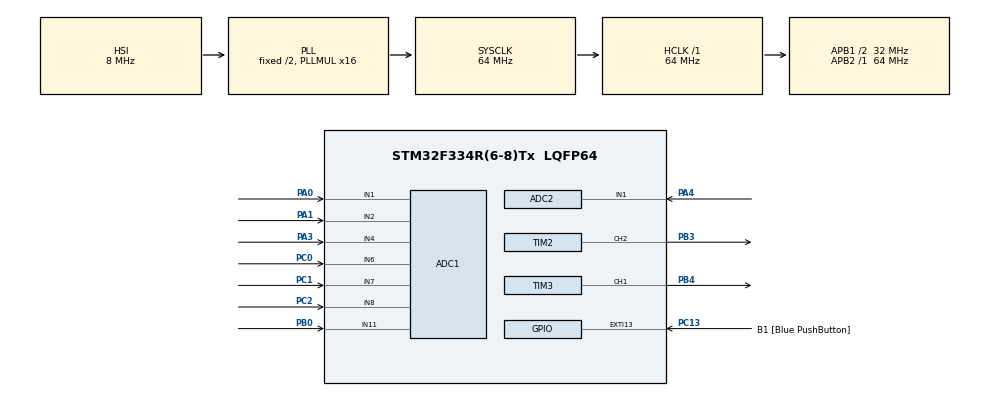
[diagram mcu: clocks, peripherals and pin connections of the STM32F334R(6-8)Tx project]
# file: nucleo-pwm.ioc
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ADC1.ContinuousConvMode=DISABLE
ADC1.EOCSelection=ADC_EOC_SINGLE_CONV
ADC1.EnableRegularConversion=DISABLE
ADC1.InjNumberOfConversion=3
ADC1.InjectedChannel-3\#ChannelInjectedConversion=ADC_CHANNEL_1
ADC1.InjectedChannel-4\#ChannelInjectedConversion=ADC_CHANNEL_2
ADC1.InjectedChannel-5\#ChannelInjectedConversion=ADC_CHANNEL_11
ADC1.InjectedOffset-3\#ChannelInjectedConversion=0
ADC1.InjectedOffset-4\#ChannelInjectedConversion=0
ADC1.InjectedOffset-5\#ChannelInjectedConversion=0
ADC1.InjectedOffsetNumber-3\#ChannelInjectedConversion=ADC_OFFSET_NONE
ADC1.InjectedOffsetNumber-4\#ChannelInjectedConversion=ADC_OFFSET_NONE
ADC1.InjectedOffsetNumber-5\#ChannelInjectedConversion=ADC_OFFSET_NONE
ADC1.InjectedRank-3\#ChannelInjectedConversion=1
ADC1.InjectedRank-4\#ChannelInjectedConversion=2
ADC1.InjectedRank-5\#ChannelInjectedConversion=3
ADC1.InjectedSamplingTime-3\#ChannelInjectedConversion=ADC_SAMPLETIME_1CYCLE_5
ADC1.InjectedSamplingTime-4\#ChannelInjectedConversion=ADC_SAMPLETIME_1CYCLE_5
ADC1.InjectedSamplingTime-5\#ChannelInjectedConversion=ADC_SAMPLETIME_1CYCLE_5
ADC1.SubFamily=STM32F334x8
ADC1.master=1
ADC2.ContinuousConvMode=DISABLE
ADC2.EOCSelection=ADC_EOC_SINGLE_CONV
ADC2.EnableRegularConversion=DISABLE
ADC2.InjNumberOfConversion=1
ADC2.InjectedChannel-2\#ChannelInjectedConversion=ADC_CHANNEL_1
ADC2.InjectedOffset-2\#ChannelInjectedConversion=0
ADC2.InjectedOffsetNumber-2\#ChannelInjectedConversion=ADC_OFFSET_NONE
ADC2.InjectedRank-2\#ChannelInjectedConversion=1
ADC2.InjectedSamplingTime-2\#ChannelInjectedConversion=ADC_SAMPLETIME_1CYCLE_5
ADC2.SubFamily=STM32F334x8
Mcu.Family=STM32F3
Mcu.Name=STM32F334R(6-8)Tx
Mcu.Package=LQFP64
NVIC.PriorityGroup=NVIC_PRIORITYGROUP_0
PA0.Mode=IN1-Single-Ended
PA0.Signal=ADC1_IN1
PA1.Mode=IN2-Single-Ended
PA1.Signal=ADC1_IN2
PA13.GPIO_Label=TMS
PA13.Mode=Serial_Wire
PA13.Signal=SYS_JTMS-SWDIO
PA14.GPIO_Label=TCK
PA14.Mode=Serial_Wire
PA14.Signal=SYS_JTCK-SWCLK
PA3.Mode=IN4-Single-Ended
PA3.Signal=ADC1_IN4
PA4.Mode=IN1-Single-Ended
PA4.Signal=ADC2_IN1
PA5.Signal=ADC2_IN2
PB0.Mode=IN11-Single-Ended
PB0.Signal=ADC1_IN11
PB3.GPIO_Speed=GPIO_SPEED_FREQ_HIGH
PB3.Signal=S_TIM2_CH2
PB4.Signal=S_TIM3_CH1
PC0.Signal=ADCx_IN6
PC1.Signal=ADCx_IN7
PC13.GPIO_Label=B1 [Blue PushButton]
PC13.GPIO_ModeDefaultEXTI=GPIO_MODE_IT_FALLING
PC13.Signal=GPXTI13
PC14\ /\ OSC32_IN.Mode=LSE-External-Oscillator
PC14\ /\ OSC32_IN.Signal=RCC_OSC32_IN
PC15\ /\ OSC32_OUT.GPIO_Label=RCC_OSC32_OUT
PC15\ /\ OSC32_OUT.Mode=LSE-External-Oscillator
PC15\ /\ OSC32_OUT.Signal=RCC_OSC32_OUT
PC2.Signal=ADCx_IN8
PF0\ /\ OSC_IN.Mode=HSE-External-Clock-Source
PF0\ /\ OSC_IN.Signal=RCC_OSC_IN
PF1\ /\ OSC_OUT.Signal=RCC_OSC_OUT
ProjectManager.HeapSize=0x200
ProjectManager.StackSize=0x400
ProjectManager.TargetToolchain=STM32CubeIDE
RCC.AHBFreq_Value=64000000
RCC.APB1CLKDivider=RCC_HCLK_DIV2
RCC.APB1Freq_Value=32000000
RCC.APB1TimFreq_Value=64000000
RCC.APB2Freq_Value=64000000
RCC.APB2TimFreq_Value=64000000
RCC.CortexFreq_Value=64000000
RCC.FLatency-AdvancedSettings=FLASH_LATENCY_2
RCC.HCLKFreq_Value=64000000
RCC.HSE_VALUE=8000000
RCC.HSI_VALUE=8000000
RCC.PLLMUL=RCC_PLL_MUL16
RCC.SYSCLKFreq_VALUE=64000000
RCC.SYSCLKSourceVirtual=RCC_SYSCLKSOURCE_PLLCLK
SH.ADCx_IN6.0=ADC1_IN6,IN6-Single-Ended
SH.ADCx_IN7.0=ADC1_IN7,IN7-Single-Ended
SH.ADCx_IN8.0=ADC1_IN8,IN8-Single-Ended
SH.S_TIM2_CH2.0=TIM2_CH2,PWM Generation2 CH2
SH.S_TIM3_CH1.0=TIM3_CH1,PWM Generation1 CH1
TIM2.AutoReloadPreload=TIM_AUTORELOAD_PRELOAD_ENABLE
TIM2.Channel-PWM\ Generation2\ CH2=TIM_CHANNEL_2
TIM2.OCFastMode_PWM-PWM\ Generation2\ CH2=TIM_OCFAST_ENABLE
TIM2.Period=15999
TIM2.Prescaler=1
TIM2.Pulse-PWM\ Generation2\ CH2=7999
TIM3.AutoReloadPreload=TIM_AUTORELOAD_PRELOAD_ENABLE
TIM3.Channel-PWM\ Generation1\ CH1=TIM_CHANNEL_1
TIM3.OCFastMode_PWM-PWM\ Generation1\ CH1=TIM_OCFAST_ENABLE
TIM3.Period=15999
TIM3.Prescaler=1
TIM3.Pulse-PWM\ Generation1\ CH1=8999
VP_TIM2_VS_ClockSourceINT.Mode=Internal
board=NUCLEO-F334R8

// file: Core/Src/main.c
/* USER CODE BEGIN Header */
/**
 ******************************************************************************
 * @file           : main.c
 * @brief          : Main program body
 ******************************************************************************
 * @attention
 *
 * <h2><center>&copy; Copyright (c) 2020 STMicroelectronics.
 * All rights reserved.</center></h2>
 *
 * This software component is licensed by ST under BSD 3-Clause license,
 * the "License"; You may not use this file except in compliance with the
 * License. You may obtain a copy of the License at:
 *                        opensource.org/licenses/BSD-3-Clause
 *
 ******************************************************************************
 */
/* USER CODE END Header */

#include "main.h"

/* USER CODE BEGIN Includes */
#include <stdlib.h>
#include <math.h>
/* USER CODE END Includes */

/* USER CODE BEGIN PM */

// delta for ADC value change that is not counted as timer change to prevent setup timer every time due ADC measurement error
#define ADC_DELTA 15

#define ADC_max 4096

// see APB1 domain/ timer clock
#define TIMER_CLOCK (64 * 1000000l)

// 100Khz
#define PWM_min (100 * 1000l)

// 8Mhz
#define PWM_max (8 * 1000000l)

/* USER CODE END PM */

ADC_HandleTypeDef hadc1;
ADC_HandleTypeDef hadc2;

TIM_HandleTypeDef htim2;
TIM_HandleTypeDef htim3;

/* USER CODE BEGIN PV */
volatile uint16_t adcData[4];
volatile uint16_t adcDataPrev[4];
/* USER CODE END PV */

void SystemClock_Config(void);
static void MX_GPIO_Init(void);
static void MX_ADC1_Init(void);
static void MX_ADC2_Init(void);
static void MX_TIM2_Init(void);
static void MX_TIM3_Init(void);

/* USER CODE BEGIN 0 */

void setupTimer(TIM_TypeDef *TIMx, uint16_t adcF, uint16_t adcC) {
	float p = (float) adcC / ADC_max; // percent of duty cycle
	p = p > 0.99 ? 0.99 : p; // not greater than 99%

	// freq to period mapping
	float freq = PWM_min + (PWM_max - PWM_min) * ((float) adcF / ADC_max);
	uint16_t f = round(freq / TIMER_CLOCK / 2);
	uint16_t c = round(f * p);

	// not less one cycle
	c = c == 0 ? 1 : c;

/*
 	 http://www.emcu.eu/stm32-basic-timer/

	 TIMx->ARR = (uint32_t)Structure->Period ;
	 TIMx->CCR2 = OC_Config->Pulse;
*/

	TIMx->ARR = f;
	TIMx->CCR2 = c;
}

uint32_t delta(uint16_t a, uint16_t b) {
	return abs((int16_t) a - (int16_t) b);
}

/* USER CODE END 0 */

int main(void)
{

  /* MCU Configuration--------------------------------------------------------*/

  /* Reset of all peripherals, Initializes the Flash interface and the Systick. */
  HAL_Init();

  /* Configure the system clock */
  SystemClock_Config();

  /* Initialize all configured peripherals */
  MX_GPIO_Init();
  MX_ADC1_Init();
  MX_ADC2_Init();
  MX_TIM2_Init();
  MX_TIM3_Init();

  /* Infinite loop */
  /* USER CODE BEGIN WHILE */

	HAL_TIM_PWM_Start(&htim2, TIM_CHANNEL_2);
	HAL_TIM_PWM_Start(&htim3, TIM_CHANNEL_1);

	if (HAL_ADCEx_Calibration_Start(&hadc1, ADC_SINGLE_ENDED) != HAL_OK) {
		Error_Handler();
	}

	if (HAL_ADCEx_Calibration_Start(&hadc2, ADC_SINGLE_ENDED) != HAL_OK) {
		Error_Handler();
	}

	while (1) {
		/*
		 F    C    F    C
		 PA0, PA1, PA4, PB0
		 (UNO Pin  A0, A1,  A2,  A3 - respectively)
		 PWM at UNO Pin3 (STM32 PB3): potentiometer at A2 controls Frequency, A3 controls DutyC
		 PWM at UNO Pin5 (STM32 PB4): potentiometer at A0 controls Frequency, A1 controls DutyC

		 ADC_Data:

		 0		: PA0 - ADC1-1  RANK 1 F
		 1		: PA1 - ADC1-2  RANK 2 C

		 2		: PA4 - ADC2-1  RANK 1 F
		 3		: PB0 - ADC1-11 RANK 3 C

		 */

		HAL_ADCEx_InjectedStart(&hadc1);
		HAL_ADCEx_InjectedPollForConversion(&hadc1, 10);
		adcData[0] = HAL_ADCEx_InjectedGetValue(&hadc1, ADC_INJECTED_RANK_1);
		adcData[1] = HAL_ADCEx_InjectedGetValue(&hadc1, ADC_INJECTED_RANK_2);
		adcData[3] = HAL_ADCEx_InjectedGetValue(&hadc1, ADC_INJECTED_RANK_3);
		HAL_ADCEx_InjectedStop(&hadc1);

		HAL_ADCEx_InjectedStart(&hadc2);
		HAL_ADCEx_InjectedPollForConversion(&hadc2, 10);
		adcData[2] = HAL_ADCEx_InjectedGetValue(&hadc2, ADC_INJECTED_RANK_1);
		HAL_ADCEx_InjectedStop(&hadc2);

		if ( (delta(adcData[0], adcDataPrev[0]) > ADC_DELTA)
				|| (delta(adcData[1], adcDataPrev[1]) > ADC_DELTA)) {
			adcDataPrev[0] = adcData[0];
			adcDataPrev[1] = adcData[1];

			setupTimer(htim2.Instance, adcData[0], adcData[1]);
		}

		if ( (delta(adcData[2], adcDataPrev[2]) > ADC_DELTA)
				|| (delta(adcData[3], adcDataPrev[3]) > ADC_DELTA)) {
			adcDataPrev[2] = adcData[2];
			adcDataPrev[3] = adcData[3];

			setupTimer(htim3.Instance, adcData[2], adcData[3]);
		}

    /* USER CODE END WHILE */

	}
}

void SystemClock_Config(void)
{
  RCC_OscInitTypeDef RCC_OscInitStruct = {0};
  RCC_ClkInitTypeDef RCC_ClkInitStruct = {0};
  RCC_PeriphCLKInitTypeDef PeriphClkInit = {0};

  /** Initializes the CPU, AHB and APB busses clocks
  */
  RCC_OscInitStruct.OscillatorType = RCC_OSCILLATORTYPE_HSI;
  RCC_OscInitStruct.HSIState = RCC_HSI_ON;
  RCC_OscInitStruct.HSICalibrationValue = RCC_HSICALIBRATION_DEFAULT;
  RCC_OscInitStruct.PLL.PLLState = RCC_PLL_ON;
  RCC_OscInitStruct.PLL.PLLSource = RCC_PLLSOURCE_HSI;
  RCC_OscInitStruct.PLL.PLLMUL = RCC_PLL_MUL16;
  if (HAL_RCC_OscConfig(&RCC_OscInitStruct) != HAL_OK)
  {
    Error_Handler();
  }
  /** Initializes the CPU, AHB and APB busses clocks
  */
  RCC_ClkInitStruct.ClockType = RCC_CLOCKTYPE_HCLK|RCC_CLOCKTYPE_SYSCLK
                              |RCC_CLOCKTYPE_PCLK1|RCC_CLOCKTYPE_PCLK2;
  RCC_ClkInitStruct.SYSCLKSource = RCC_SYSCLKSOURCE_PLLCLK;
  RCC_ClkInitStruct.AHBCLKDivider = RCC_SYSCLK_DIV1;
  RCC_ClkInitStruct.APB1CLKDivider = RCC_HCLK_DIV2;
  RCC_ClkInitStruct.APB2CLKDivider = RCC_HCLK_DIV1;

  if (HAL_RCC_ClockConfig(&RCC_ClkInitStruct, FLASH_LATENCY_2) != HAL_OK)
  {
    Error_Handler();
  }
  PeriphClkInit.PeriphClockSelection = RCC_PERIPHCLK_ADC12;
  PeriphClkInit.Adc12ClockSelection = RCC_ADC12PLLCLK_DIV1;
  if (HAL_RCCEx_PeriphCLKConfig(&PeriphClkInit) != HAL_OK)
  {
    Error_Handler();
  }
}

static void MX_ADC1_Init(void)
{

  ADC_MultiModeTypeDef multimode = {0};
  ADC_InjectionConfTypeDef sConfigInjected = {0};

  /** Common config
  */
  hadc1.Instance = ADC1;
  hadc1.Init.ClockPrescaler = ADC_CLOCK_ASYNC_DIV1;
  hadc1.Init.Resolution = ADC_RESOLUTION_12B;
  hadc1.Init.ScanConvMode = ADC_SCAN_ENABLE;
  hadc1.Init.ContinuousConvMode = DISABLE;
  hadc1.Init.DiscontinuousConvMode = DISABLE;
  hadc1.Init.DataAlign = ADC_DATAALIGN_RIGHT;
  hadc1.Init.NbrOfConversion = 1;
  hadc1.Init.DMAContinuousRequests = DISABLE;
  hadc1.Init.EOCSelection = ADC_EOC_SINGLE_CONV;
  hadc1.Init.LowPowerAutoWait = DISABLE;
  hadc1.Init.Overrun = ADC_OVR_DATA_OVERWRITTEN;
  if (HAL_ADC_Init(&hadc1) != HAL_OK)
  {
    Error_Handler();
  }
  /** Configure the ADC multi-mode
  */
  multimode.Mode = ADC_MODE_INDEPENDENT;
  if (HAL_ADCEx_MultiModeConfigChannel(&hadc1, &multimode) != HAL_OK)
  {
    Error_Handler();
  }
  /** Configure Injected Channel
  */
  sConfigInjected.InjectedChannel = ADC_CHANNEL_1;
  sConfigInjected.InjectedRank = ADC_INJECTED_RANK_1;
  sConfigInjected.InjectedSingleDiff = ADC_SINGLE_ENDED;
  sConfigInjected.InjectedNbrOfConversion = 3;
  sConfigInjected.InjectedSamplingTime = ADC_SAMPLETIME_1CYCLE_5;
  sConfigInjected.ExternalTrigInjecConvEdge = ADC_EXTERNALTRIGINJECCONV_EDGE_NONE;
  sConfigInjected.ExternalTrigInjecConv = ADC_INJECTED_SOFTWARE_START;
  sConfigInjected.AutoInjectedConv = DISABLE;
  sConfigInjected.InjectedDiscontinuousConvMode = DISABLE;
  sConfigInjected.QueueInjectedContext = DISABLE;
  sConfigInjected.InjectedOffset = 0;
  sConfigInjected.InjectedOffsetNumber = ADC_OFFSET_NONE;
  if (HAL_ADCEx_InjectedConfigChannel(&hadc1, &sConfigInjected) != HAL_OK)
  {
    Error_Handler();
  }
  /** Configure Injected Channel
  */
  sConfigInjected.InjectedChannel = ADC_CHANNEL_2;
  sConfigInjected.InjectedRank = ADC_INJECTED_RANK_2;
  if (HAL_ADCEx_InjectedConfigChannel(&hadc1, &sConfigInjected) != HAL_OK)
  {
    Error_Handler();
  }
  /** Configure Injected Channel
  */
  sConfigInjected.InjectedChannel = ADC_CHANNEL_11;
  sConfigInjected.InjectedRank = ADC_INJECTED_RANK_3;
  if (HAL_ADCEx_InjectedConfigChannel(&hadc1, &sConfigInjected) != HAL_OK)
  {
    Error_Handler();
  }

}

static void MX_ADC2_Init(void)
{

  ADC_InjectionConfTypeDef sConfigInjected = {0};

  /** Common config
  */
  hadc2.Instance = ADC2;
  hadc2.Init.ClockPrescaler = ADC_CLOCK_ASYNC_DIV1;
  hadc2.Init.Resolution = ADC_RESOLUTION_12B;
  hadc2.Init.ScanConvMode = ADC_SCAN_DISABLE;
  hadc2.Init.ContinuousConvMode = DISABLE;
  hadc2.Init.DiscontinuousConvMode = DISABLE;
  hadc2.Init.DataAlign = ADC_DATAALIGN_RIGHT;
  hadc2.Init.NbrOfConversion = 1;
  hadc2.Init.DMAContinuousRequests = DISABLE;
  hadc2.Init.EOCSelection = ADC_EOC_SINGLE_CONV;
  hadc2.Init.LowPowerAutoWait = DISABLE;
  hadc2.Init.Overrun = ADC_OVR_DATA_OVERWRITTEN;
  if (HAL_ADC_Init(&hadc2) != HAL_OK)
  {
    Error_Handler();
  }
  /** Configure Injected Channel
  */
  sConfigInjected.InjectedChannel = ADC_CHANNEL_1;
  sConfigInjected.InjectedRank = ADC_INJECTED_RANK_1;
  sConfigInjected.InjectedSingleDiff = ADC_SINGLE_ENDED;
  sConfigInjected.InjectedNbrOfConversion = 1;
  sConfigInjected.InjectedSamplingTime = ADC_SAMPLETIME_1CYCLE_5;
  sConfigInjected.ExternalTrigInjecConvEdge = ADC_EXTERNALTRIGINJECCONV_EDGE_NONE;
  sConfigInjected.ExternalTrigInjecConv = ADC_INJECTED_SOFTWARE_START;
  sConfigInjected.AutoInjectedConv = DISABLE;
  sConfigInjected.InjectedDiscontinuousConvMode = DISABLE;
  sConfigInjected.QueueInjectedContext = DISABLE;
  sConfigInjected.InjectedOffset = 0;
  sConfigInjected.InjectedOffsetNumber = ADC_OFFSET_NONE;
  if (HAL_ADCEx_InjectedConfigChannel(&hadc2, &sConfigInjected) != HAL_OK)
  {
    Error_Handler();
  }

}

static void MX_TIM2_Init(void)
{

  TIM_ClockConfigTypeDef sClockSourceConfig = {0};
  TIM_MasterConfigTypeDef sMasterConfig = {0};
  TIM_OC_InitTypeDef sConfigOC = {0};

  htim2.Instance = TIM2;
  htim2.Init.Prescaler = 1;
  htim2.Init.CounterMode = TIM_COUNTERMODE_UP;
  htim2.Init.Period = 15999;
  htim2.Init.ClockDivision = TIM_CLOCKDIVISION_DIV1;
  htim2.Init.AutoReloadPreload = TIM_AUTORELOAD_PRELOAD_ENABLE;
  if (HAL_TIM_Base_Init(&htim2) != HAL_OK)
  {
    Error_Handler();
  }
  sClockSourceConfig.ClockSource = TIM_CLOCKSOURCE_INTERNAL;
  if (HAL_TIM_ConfigClockSource(&htim2, &sClockSourceConfig) != HAL_OK)
  {
    Error_Handler();
  }
  if (HAL_TIM_PWM_Init(&htim2) != HAL_OK)
  {
    Error_Handler();
  }
  sMasterConfig.MasterOutputTrigger = TIM_TRGO_RESET;
  sMasterConfig.MasterSlaveMode = TIM_MASTERSLAVEMODE_DISABLE;
  if (HAL_TIMEx_MasterConfigSynchronization(&htim2, &sMasterConfig) != HAL_OK)
  {
    Error_Handler();
  }
  sConfigOC.OCMode = TIM_OCMODE_PWM1;
  sConfigOC.Pulse = 7999;
  sConfigOC.OCPolarity = TIM_OCPOLARITY_HIGH;
  sConfigOC.OCFastMode = TIM_OCFAST_ENABLE;
  if (HAL_TIM_PWM_ConfigChannel(&htim2, &sConfigOC, TIM_CHANNEL_2) != HAL_OK)
  {
    Error_Handler();
  }
  HAL_TIM_MspPostInit(&htim2);

}

static void MX_TIM3_Init(void)
{

  TIM_MasterConfigTypeDef sMasterConfig = {0};
  TIM_OC_InitTypeDef sConfigOC = {0};

  htim3.Instance = TIM3;
  htim3.Init.Prescaler = 1;
  htim3.Init.CounterMode = TIM_COUNTERMODE_UP;
  htim3.Init.Period = 15999;
  htim3.Init.ClockDivision = TIM_CLOCKDIVISION_DIV1;
  htim3.Init.AutoReloadPreload = TIM_AUTORELOAD_PRELOAD_ENABLE;
  if (HAL_TIM_PWM_Init(&htim3) != HAL_OK)
  {
    Error_Handler();
  }
  sMasterConfig.MasterOutputTrigger = TIM_TRGO_RESET;
  sMasterConfig.MasterSlaveMode = TIM_MASTERSLAVEMODE_DISABLE;
  if (HAL_TIMEx_MasterConfigSynchronization(&htim3, &sMasterConfig) != HAL_OK)
  {
    Error_Handler();
  }
  sConfigOC.OCMode = TIM_OCMODE_PWM1;
  sConfigOC.Pulse = 8999;
  sConfigOC.OCPolarity = TIM_OCPOLARITY_HIGH;
  sConfigOC.OCFastMode = TIM_OCFAST_ENABLE;
  if (HAL_TIM_PWM_ConfigChannel(&htim3, &sConfigOC, TIM_CHANNEL_1) != HAL_OK)
  {
    Error_Handler();
  }
  HAL_TIM_MspPostInit(&htim3);

}

static void MX_GPIO_Init(void)
{
  GPIO_InitTypeDef GPIO_InitStruct = {0};

  /* GPIO Ports Clock Enable */
  __HAL_RCC_GPIOC_CLK_ENABLE();
  __HAL_RCC_GPIOF_CLK_ENABLE();
  __HAL_RCC_GPIOA_CLK_ENABLE();
  __HAL_RCC_GPIOB_CLK_ENABLE();

  /*Configure GPIO pin : B1_Pin */
  GPIO_InitStruct.Pin = B1_Pin;
  GPIO_InitStruct.Mode = GPIO_MODE_IT_FALLING;
  GPIO_InitStruct.Pull = GPIO_NOPULL;
  HAL_GPIO_Init(B1_GPIO_Port, &GPIO_InitStruct);

}

void Error_Handler(void)
{
}

/************************ (C) COPYRIGHT STMicroelectronics *****END OF FILE****/
